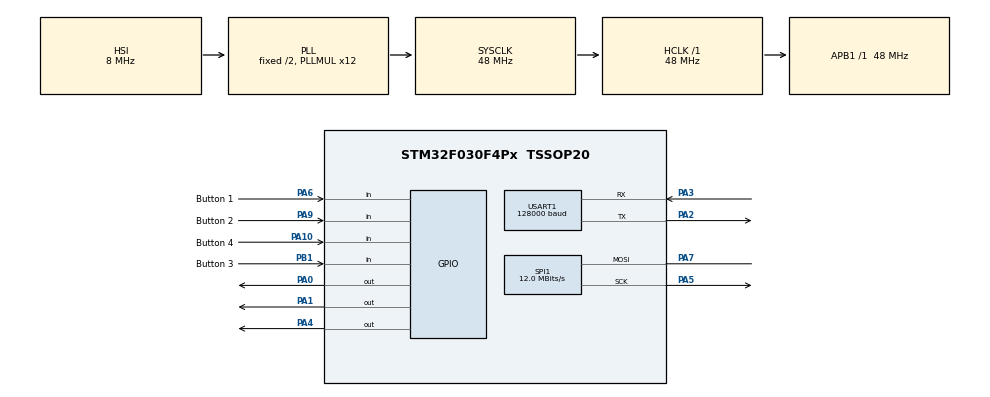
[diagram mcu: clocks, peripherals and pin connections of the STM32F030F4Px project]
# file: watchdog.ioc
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Dma.Request0=USART1_RX
Dma.USART1_RX.0.Direction=DMA_PERIPH_TO_MEMORY
Dma.USART1_RX.0.Instance=DMA1_Channel3
Dma.USART1_RX.0.MemDataAlignment=DMA_MDATAALIGN_BYTE
Dma.USART1_RX.0.MemInc=DMA_MINC_ENABLE
Dma.USART1_RX.0.Mode=DMA_NORMAL
Dma.USART1_RX.0.PeriphDataAlignment=DMA_PDATAALIGN_BYTE
Dma.USART1_RX.0.PeriphInc=DMA_PINC_DISABLE
Dma.USART1_RX.0.Priority=DMA_PRIORITY_LOW
Mcu.Family=STM32F0
Mcu.Name=STM32F030F4Px
Mcu.Package=TSSOP20
NVIC.DMA1_Channel2_3_IRQn=true\:0\:0\:false\:false\:true\:false\:true
NVIC.USART1_IRQn=true\:0\:0\:false\:false\:true\:true\:true
PA0.Signal=GPIO_Output
PA1.Signal=GPIO_Output
PA10.GPIO_Label=Button 4
PA10.GPIO_PuPd=GPIO_PULLUP
PA10.Signal=GPIO_Input
PA13.Mode=Serial_Wire
PA13.Signal=SYS_SWDIO
PA14.Mode=Serial_Wire
PA14.Signal=SYS_SWCLK
PA2.GPIO_PuPd=GPIO_PULLUP
PA2.Mode=Asynchronous
PA2.Signal=USART1_TX
PA3.GPIO_PuPd=GPIO_PULLUP
PA3.Mode=Asynchronous
PA3.Signal=USART1_RX
PA4.Signal=GPIO_Output
PA5.Mode=Simplex_Bidirectional_Master
PA5.Signal=SPI1_SCK
PA6.GPIO_Label=Button 1
PA6.GPIO_PuPd=GPIO_PULLUP
PA6.Signal=GPIO_Input
PA7.Mode=Simplex_Bidirectional_Master
PA7.Signal=SPI1_MOSI
PA9.GPIO_Label=Button 2
PA9.GPIO_PuPd=GPIO_PULLUP
PA9.Signal=GPIO_Input
PB1.GPIO_Label=Button 3
PB1.GPIO_PuPd=GPIO_PULLUP
PB1.Signal=GPIO_Input
ProjectManager.HeapSize=0x200
ProjectManager.StackSize=0x400
ProjectManager.TargetToolchain=MDK-ARM V5.27
RCC.AHBFreq_Value=48000000
RCC.APB1Freq_Value=48000000
RCC.APB1TimFreq_Value=48000000
RCC.HCLKFreq_Value=48000000
RCC.PLLMUL=RCC_PLL_MUL12
RCC.SYSCLKFreq_VALUE=48000000
RCC.SYSCLKSource=RCC_SYSCLKSOURCE_PLLCLK
SPI1.BaudRatePrescaler=SPI_BAUDRATEPRESCALER_4
SPI1.CalculateBaudRate=12.0 MBits/s
SPI1.Direction=SPI_DIRECTION_1LINE
SPI1.Mode=SPI_MODE_MASTER
SPI1.VirtualType=VM_MASTER
USART1.BaudRate=128000
USART1.VirtualMode-Asynchronous=VM_ASYNC
board=custom

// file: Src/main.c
/* USER CODE BEGIN Header */
/**
  ******************************************************************************
  * @file           : main.c
  * @brief          : Main program body
	* @Author					: Dhannyell Lukas
  ******************************************************************************
  * @attention
  *
  * <h2><center>&copy; Copyright (c) 2019 STMicroelectronics.
  * All rights reserved.</center></h2>
  *
  * This software component is licensed by ST under BSD 3-Clause license,
  * the "License"; You may not use this file except in compliance with the
  * License. You may obtain a copy of the License at:
  *                        opensource.org/licenses/BSD-3-Clause
  *
  ******************************************************************************
  */
/* USER CODE END Header */

#include "main.h"

/* USER CODE BEGIN Includes */
#include "../Src/lcd/pcd8544.h"
/* USER CODE END Includes */

SPI_HandleTypeDef hspi1;

UART_HandleTypeDef huart1;
DMA_HandleTypeDef hdma_usart1_rx;

void SystemClock_Config(void);
static void MX_GPIO_Init(void);
static void MX_DMA_Init(void);
static void MX_USART1_UART_Init(void);
static void MX_SPI1_Init(void);

/* USER CODE BEGIN 0 */
//coment to CPU GRAPH
#define CLOCK_GRAPH

#define MIN_CLOCK 400
#define MAX_CLOCK 2900
#define NUM_VAL (21)

uint8_t rx_data[60];

int enable_iterface = 1;

int cpuClock=0;
char cpuclock[4];

int Temp;
char temp[2];

char load[3];
int Load = 0;

int en, st;
int inp = 0;

//UART CALLBACK FUNCTION DMA
void HAL_UART_RxCpltCallback(UART_HandleTypeDef *huart){
	HAL_UART_Receive_DMA(&huart1, rx_data, sizeof(rx_data));
}

void data_schemaSPI(){
	gotoXY(0,2);
	LCDString("Ram:");
	gotoXY(0,3);
	LCDString("Cpu:");
	gotoXY(0,4);
	LCDString("Temp:");
	gotoXY(0,5);
	LCDString("Clock:");
}

int v,i,ght=16;
int selector = 0;
int valTab[NUM_VAL];
int tempTab[NUM_VAL];
int loadTab[NUM_VAL];

//draw clock graph
void drawGraphBar()
{
  drawLineH2(0,83,0,2);
  drawLineH2(0,83,15,2);
  drawLineV2(0,0,15,2);
  drawLineV2(83,0,15,2);
  for(i=0;i<NUM_VAL;i++) {
    drawLineH2(i*4,(i+1)*4-1,15-valTab[i],1);
    drawLineV2(i*4+0,15-valTab[i],15,2);
    drawLineV2(i*4+1,15-valTab[i],15,2);
    drawLineV2(i*4+2,15-valTab[i],15,2);
    drawLineV2(i*4+3,15-valTab[i],15,2);
    if(i>0) drawLineV2(i*4,15-valTab[i-1],15-valTab[i],1);
  }
}

//draw temp graph
void drawGraphBar2()
{
  drawLineH2(0,83,6,2);
  drawLineH2(0,83,21,2);
  drawLineV2(0,6,21,2);
  drawLineV2(83,6,21,2);
  for(i=0;i<NUM_VAL;i++) {
    drawLineH2(i*4,(i+1)*4-1,21-tempTab[i],1);
    drawLineV2(i*4+0,21-tempTab[i],21,2);
    drawLineV2(i*4+1,21-tempTab[i],21,2);
    drawLineV2(i*4+2,21-tempTab[i],21,2);
    drawLineV2(i*4+3,21-tempTab[i],21,2);
    if(i>0) drawLineV2(i*4,21-tempTab[i-1],21-tempTab[i],1);
  }
}

//draw load graph
void drawGraphBar3()
{
  drawLineH2(0,83,26,2);
  drawLineH2(0,83,41,2);
  drawLineV2(0,26,41,2);
  drawLineV2(83,26,41,2);
  for(i=0;i<NUM_VAL;i++) {
    drawLineH2(i*4,(i+1)*4-1,41-loadTab[i],1);
    drawLineV2(i*4+0,41-loadTab[i],41,2);
    drawLineV2(i*4+1,41-loadTab[i],41,2);
    drawLineV2(i*4+2,41-loadTab[i],41,2);
    drawLineV2(i*4+3,41-loadTab[i],41,2);
    if(i>0) drawLineV2(i*4,41-loadTab[i-1],41-loadTab[i],1);
  }
}

//function update clock array used to draw graph
void addVal()
{
  for(int i=0;i<NUM_VAL-1;i++) valTab[i]=valTab[i+1];
#ifdef CLOCK_GRAPH
  if(cpuClock<400) cpuClock=400;
  if(cpuClock>2900) cpuClock=2900;
  valTab[NUM_VAL-1] = (long)(cpuClock-MIN_CLOCK)*ght/(MAX_CLOCK-MIN_CLOCK);
#else
  valTab[NUM_VAL-1] = Load*ght/100;
#endif
}

//add values to generate temperature graphic
void addTemp()
{
  for(int i=0;i<NUM_VAL-1;i++) tempTab[i]=tempTab[i+1];
  tempTab[NUM_VAL-1] = Temp*ght/100;
}

//function update load array used to draw graph
void addLoad()
{
  for(int i=0;i<NUM_VAL-1;i++) loadTab[i]=loadTab[i+1];
  loadTab[NUM_VAL-1] = Load*ght/100;
}

//port to substring function arduino to stm32
int substring(char *source, int from, int n, char *target){
    int length,i;
    //get string length
    for(length=0;source[length]!='\0';length++);

    if((from+n)>length){
        //get substring till end
        n=(length-from);
    }
    //get substring in target
    for(i=0;i<n;i++){
        target[i]=source[from+i];
    }
    target[i]='\0'; //assign null at last

    return 0;
}

/* USER CODE END 0 */

int main(void)
{

  /* MCU Configuration--------------------------------------------------------*/

  /* Reset of all peripherals, Initializes the Flash interface and the Systick. */
  HAL_Init();

  /* Configure the system clock */
  SystemClock_Config();

  /* Initialize all configured peripherals */
  MX_GPIO_Init();
  MX_DMA_Init();
  MX_USART1_UART_Init();
  MX_SPI1_Init();
  /* USER CODE BEGIN 2 */
	//Call the Callback function on DMA
	HAL_UART_Receive_DMA(&huart1, rx_data, sizeof(rx_data));

	//LCD SPI INIT CONFIG
	LcdInitialise();
	LcdClear();

  /* USER CODE END 2 */

  /* Infinite loop */
  while (1)
  {
		for(int j=0;j<sizeof(rx_data);j++){
			//Check if any data is receive.
			if(rx_data[0] == 0x00){
				gotoXY(0,2);
				LCDString("Conectando..");
				LcdClearBuffer();
				LcdClear();
			//if data receive load main interface
			}else if(enable_iterface == 1){
				data_schemaSPI();
				enable_iterface = 0;
			//if button 1 is pressed load secudary interface
			}else if(enable_iterface == 2){
				gotoXY(11,0);
				LCDString("Temp/Load");
				en = strcspn(rx_data,"Y");
				st = strcspn(rx_data,"K");

				if(en >= 0){
				substring(rx_data,en+1,2,temp);
				Temp = atoi(temp);
				inp = 3;
				}
				if(st >=0){
					substring(rx_data, st+2,3,load);
					Load = atoi(load);
				}
				if(inp == 3){
					addTemp();
					addLoad();
					LcdClearBuffer();
					drawGraphBar2();
					drawGraphBar3();
					PCD8544_UpdateArea(80,40,80,40);
				}

				if(inp>=3) { HAL_Delay(1000); inp=0; PCD8544_Refresh();}
				//if button 1 is pressed again it returns to the main interface
				if(!HAL_GPIO_ReadPin(GPIOA, GPIO_PIN_6)){
					HAL_Delay(20);
					LcdClearBuffer();
					LcdClear();
					enable_iterface = 1;
				}
			//if button 3 is pressed load config menu
			}else if(enable_iterface == 3){
				//switch to control cursor
				switch(selector){
					case 0:
							LcdClear();
							gotoXY(0,0);
							LCDString(">");
							break;
					case 1:
						  LcdClear();
							gotoXY(0,1);
							LCDString(">");
							break;
					case 2:
							LcdClear();
							gotoXY(0,2);
							LCDString(">");
							break;
					case 3:
							LcdClear();
							gotoXY(0,3);
							LCDString(">");
							break;
					default:
						if(selector > 2)selector = 0;
						if(selector < 0) selector = 2;
				}
				gotoXY(9, 0);
				LCDString("Zen Mode");
				gotoXY(9, 1);
				LCDString("Turbo Mode");
				gotoXY(9, 2);
				LCDString("Contrast");
				gotoXY(9, 3);
				LCDString("Exit");
				//if button 3 is pressed update cursor on screen
				if(!HAL_GPIO_ReadPin(GPIOB, GPIO_PIN_1)){
					HAL_Delay(200);
					selector = selector + 1;
				//if button 4 pressed update cursor on screen
				}else if(!HAL_GPIO_ReadPin(GPIOA, GPIO_PIN_10)){
					HAL_Delay(200);
					selector = selector - 1;
				//if button 2 is pressed take a action based in cursor value
				}else if(!HAL_GPIO_ReadPin(GPIOA, GPIO_PIN_9)){
					HAL_Delay(200);
					switch(selector){
						case 0:
							HAL_UART_Transmit(&huart1,"Zen Mode\n", 9, 100);
							break;
						case 1:
							HAL_UART_Transmit(&huart1,"Turbo Mode\n", 12, 100);
							break;
						case 2:
								HAL_UART_Transmit(&huart1,"Contrast\n", 9, 100);
								break;
						case 3:
							enable_iterface = 1;
							break;
					}
				}
			//update data to main interface
			}else{
				gotoXY(27,2);
				en = strcspn(rx_data,"R");
				LCDCharacter(rx_data[en+1]);
				LCDCharacter(rx_data[en+2]);
				LCDCharacter(rx_data[en+3]);
				LCDString("GB");

				gotoXY(27,3);
				en = strcspn(rx_data,"K");
				substring(rx_data,en+2,3,load);
				LCDCharacter(load[0]);
				LCDCharacter(load[1]);
				if(load[2] == 0x7C)load[2] = 0x20;
				Load = atoi(load);
				LCDCharacter(load[2]);

				gotoXY(35,4);
				en = strcspn(rx_data,"Y");
				substring(rx_data,en+1,2,temp);
				LCDCharacter(temp[0]);
				LCDCharacter(temp[1]);
				Temp = atoi(temp);
				LCDString("C");

				gotoXY(40,5);
				en = strcspn(rx_data,"J");
				st = strcspn(rx_data,"\\");
				if(en >= 0){
					substring(rx_data,en+1,4,cpuclock);
					LCDCharacter(cpuclock[0]);
					LCDCharacter(cpuclock[1]);
					LCDCharacter(cpuclock[2]);
					if(cpuclock[3] == 0x5C)cpuclock[3] = 0x20;
					LCDCharacter(cpuclock[3]);
					LCDString("Hz");
					inp = 3;
					cpuClock = atoi(cpuclock);
				}

				if(inp == 3){
					addVal();
					LcdClearBuffer();
					drawGraphBar();
					//HAL_Delay(20000);
					PCD8544_UpdateArea(40,10,40,10);
					//PCD8544_Refresh();
				}
				if(inp>=3) { HAL_Delay(1000); inp=0; PCD8544_Refresh();}
			  if(!HAL_GPIO_ReadPin(GPIOA, GPIO_PIN_6)){
					HAL_Delay(10);
					LcdClearBuffer();
					LcdClear();
					enable_iterface = 2;
				}else if(!HAL_GPIO_ReadPin(GPIOB, GPIO_PIN_1)){
					HAL_Delay(100);
					LcdClearBuffer();
					LcdClear();
					enable_iterface = 3;
				}
			}

		}
}
}

void SystemClock_Config(void)
{
  RCC_OscInitTypeDef RCC_OscInitStruct = {0};
  RCC_ClkInitTypeDef RCC_ClkInitStruct = {0};
  RCC_PeriphCLKInitTypeDef PeriphClkInit = {0};

  /** Initializes the CPU, AHB and APB busses clocks
  */
  RCC_OscInitStruct.OscillatorType = RCC_OSCILLATORTYPE_HSI;
  RCC_OscInitStruct.HSIState = RCC_HSI_ON;
  RCC_OscInitStruct.HSICalibrationValue = RCC_HSICALIBRATION_DEFAULT;
  RCC_OscInitStruct.PLL.PLLState = RCC_PLL_ON;
  RCC_OscInitStruct.PLL.PLLSource = RCC_PLLSOURCE_HSI;
  RCC_OscInitStruct.PLL.PLLMUL = RCC_PLL_MUL12;
  RCC_OscInitStruct.PLL.PREDIV = RCC_PREDIV_DIV1;
  if (HAL_RCC_OscConfig(&RCC_OscInitStruct) != HAL_OK)
  {
    Error_Handler();
  }
  /** Initializes the CPU, AHB and APB busses clocks
  */
  RCC_ClkInitStruct.ClockType = RCC_CLOCKTYPE_HCLK|RCC_CLOCKTYPE_SYSCLK
                              |RCC_CLOCKTYPE_PCLK1;
  RCC_ClkInitStruct.SYSCLKSource = RCC_SYSCLKSOURCE_PLLCLK;
  RCC_ClkInitStruct.AHBCLKDivider = RCC_SYSCLK_DIV1;
  RCC_ClkInitStruct.APB1CLKDivider = RCC_HCLK_DIV1;

  if (HAL_RCC_ClockConfig(&RCC_ClkInitStruct, FLASH_LATENCY_1) != HAL_OK)
  {
    Error_Handler();
  }
  PeriphClkInit.PeriphClockSelection = RCC_PERIPHCLK_USART1;
  PeriphClkInit.Usart1ClockSelection = RCC_USART1CLKSOURCE_PCLK1;
  if (HAL_RCCEx_PeriphCLKConfig(&PeriphClkInit) != HAL_OK)
  {
    Error_Handler();
  }
}

static void MX_SPI1_Init(void)
{

  /* SPI1 parameter configuration*/
  hspi1.Instance = SPI1;
  hspi1.Init.Mode = SPI_MODE_MASTER;
  hspi1.Init.Direction = SPI_DIRECTION_1LINE;
  hspi1.Init.DataSize = SPI_DATASIZE_4BIT;
  hspi1.Init.CLKPolarity = SPI_POLARITY_LOW;
  hspi1.Init.CLKPhase = SPI_PHASE_1EDGE;
  hspi1.Init.NSS = SPI_NSS_SOFT;
  hspi1.Init.BaudRatePrescaler = SPI_BAUDRATEPRESCALER_4;
  hspi1.Init.FirstBit = SPI_FIRSTBIT_MSB;
  hspi1.Init.TIMode = SPI_TIMODE_DISABLE;
  hspi1.Init.CRCCalculation = SPI_CRCCALCULATION_DISABLE;
  hspi1.Init.CRCPolynomial = 7;
  hspi1.Init.CRCLength = SPI_CRC_LENGTH_DATASIZE;
  hspi1.Init.NSSPMode = SPI_NSS_PULSE_ENABLE;
  if (HAL_SPI_Init(&hspi1) != HAL_OK)
  {
    Error_Handler();
  }

}

static void MX_USART1_UART_Init(void)
{

  huart1.Instance = USART1;
  huart1.Init.BaudRate = 128000;
  huart1.Init.WordLength = UART_WORDLENGTH_8B;
  huart1.Init.StopBits = UART_STOPBITS_1;
  huart1.Init.Parity = UART_PARITY_NONE;
  huart1.Init.Mode = UART_MODE_TX_RX;
  huart1.Init.HwFlowCtl = UART_HWCONTROL_NONE;
  huart1.Init.OverSampling = UART_OVERSAMPLING_16;
  huart1.Init.OneBitSampling = UART_ONE_BIT_SAMPLE_DISABLE;
  huart1.AdvancedInit.AdvFeatureInit = UART_ADVFEATURE_NO_INIT;
  if (HAL_UART_Init(&huart1) != HAL_OK)
  {
    Error_Handler();
  }

}

static void MX_DMA_Init(void)
{

  /* DMA controller clock enable */
  __HAL_RCC_DMA1_CLK_ENABLE();

  /* DMA interrupt init */
  /* DMA1_Channel2_3_IRQn interrupt configuration */
  HAL_NVIC_SetPriority(DMA1_Channel2_3_IRQn, 0, 0);
  HAL_NVIC_EnableIRQ(DMA1_Channel2_3_IRQn);

}

static void MX_GPIO_Init(void)
{
  GPIO_InitTypeDef GPIO_InitStruct = {0};

  /* GPIO Ports Clock Enable */
  __HAL_RCC_GPIOA_CLK_ENABLE();
  __HAL_RCC_GPIOB_CLK_ENABLE();

  /*Configure GPIO pin Output Level */
  HAL_GPIO_WritePin(GPIOA, GPIO_PIN_0|GPIO_PIN_1|GPIO_PIN_4, GPIO_PIN_RESET);

  /*Configure GPIO pins : PA0 PA1 PA4 */
  GPIO_InitStruct.Pin = GPIO_PIN_0|GPIO_PIN_1|GPIO_PIN_4;
  GPIO_InitStruct.Mode = GPIO_MODE_OUTPUT_PP;
  GPIO_InitStruct.Pull = GPIO_NOPULL;
  GPIO_InitStruct.Speed = GPIO_SPEED_FREQ_LOW;
  HAL_GPIO_Init(GPIOA, &GPIO_InitStruct);

  /*Configure GPIO pins : PA6 PA9 PA10 */
  GPIO_InitStruct.Pin = GPIO_PIN_6|GPIO_PIN_9|GPIO_PIN_10;
  GPIO_InitStruct.Mode = GPIO_MODE_INPUT;
  GPIO_InitStruct.Pull = GPIO_PULLUP;
  HAL_GPIO_Init(GPIOA, &GPIO_InitStruct);

  /*Configure GPIO pin : PB1 */
  GPIO_InitStruct.Pin = GPIO_PIN_1;
  GPIO_InitStruct.Mode = GPIO_MODE_INPUT;
  GPIO_InitStruct.Pull = GPIO_PULLUP;
  HAL_GPIO_Init(GPIOB, &GPIO_InitStruct);

}

void Error_Handler(void)
{
}

/************************ (C) COPYRIGHT STMicroelectronics *****END OF FILE****/
